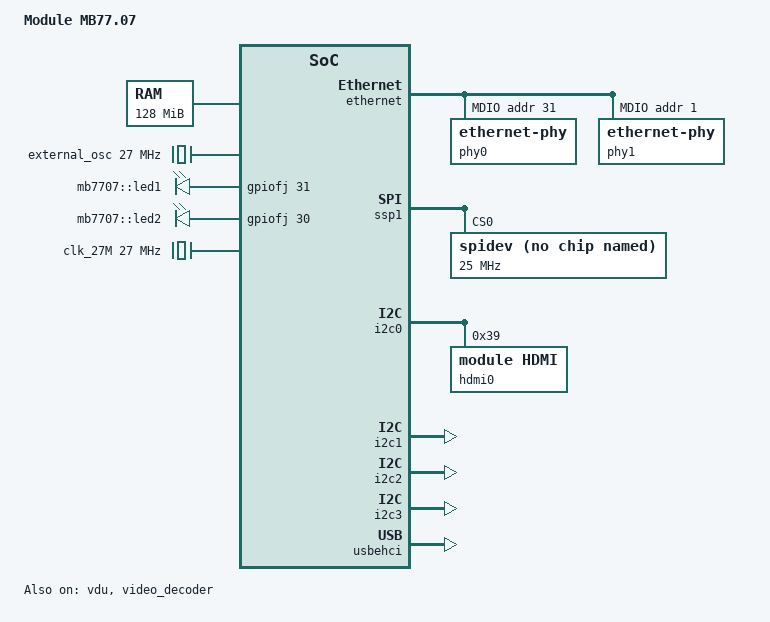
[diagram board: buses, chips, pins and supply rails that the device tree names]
/*
 * Copyright Promwad inc(C) 2011
 *
 * Michail Kurachkin <stelhs@ya.ru>
 *
 * This program is free software; you can redistribute it and/or modify
 * it under the terms of the GNU General Public License as published by
 * the Free Software Foundation; either version 2 of the License, or
 * (at your option) any later version.
 *
 * This program is distributed in the hope that it will be useful,
 * but WITHOUT ANY WARRANTY; without even the implied warranty of
 * MERCHANTABILITY or FITNESS FOR A PARTICULAR PURPOSE.  See the
 * GNU General Public License for more details.
 *
 * You should have received a copy of the GNU General Public License
 * along with this program; if not, write to the Free Software
 * Foundation, Inc., 59 Temple Place, Suite 330, Boston, MA  02111-1307  USA
 */

/dts-v1/;
/include/ "module-k1879x.dtsi"
/ {
	model = "Module MB77.07";
	compatible = "module,mb7707";

	memory {
		device_type = "memory";
		reg = <0x40000000 0x8000000>;
	};

	chosen {
		bootargs = "ignore_loglevel console=ttyS0,38400n8 earlyprintk=serial mtdparts=mnand:0x40000@0x0(boot),0x40000@0x40000(env),0x80000@0x80000(kernel_dtb),0x400000@0x100000(kernel),0x3FB00000@0x500000(rootfs) ubi.mtd=4,2048 root=ubi0:rootfs rootfstype=ubifs";
	};

	external_osc: oscillator {
		compatible = "fixed-clock";
		#clock-cells = <1>;
		clock-frequency  = <27000000>;
		clock-output-names = "osc";
	};


	/*clocks {
		ref_clk: clock@1 {
			compatible = "fixed-clock";
			clock-outputs = "ref";
			clock-frequency = <20000000>;
		};
	};*/

	 leds {
	     compatible = "gpio-leds";
	     one {
	     	  label = "mb7707::led1";
		  gpios = <&gpiofj 31 0>; /* LED1 */
		  linux,default-trigger = "heartbeat";
	     };
	     two {
		  label = "mb7707::led2";
		  gpios = <&gpiofj 30 0>; /* LED2 */
		  default-state = "off";
	     };
        };

	axi {
		apb_d {
			clk_core: clk@0 {
				/* Reference 324MHz clock */
				compatible = "fixed-clock";
				#clock-cells = <0>;
				clock-frequency = <324000000>;
				clock-output-names = "clk_core";
			};

			clk_axi: clk@1 {
				/* Reference 162MHz clock */
				compatible = "fixed-clock";
				#clock-cells = <0>;
				clock-frequency = <162000000>;
				clock-output-names = "clk_axi";
			};

			clk_prf: clk@2 {
				/* Reference 81MHz clock */
				compatible = "fixed-clock";
				#clock-cells = <0>;
				clock-frequency = <81000000>;
				clock-output-names = "clk_prf";
			};

			clk_apb: clk@3 {
				/* Reference 54MHz clock */
				compatible = "fixed-clock";
				#clock-cells = <0>;
				clock-frequency = <54000000>;
				clock-output-names = "clk_apb";
			};

			clk_27M: clk@4 {
				/* Reference 27MHz clock */
				compatible = "fixed-clock";
				#clock-cells = <0>;
				clock-frequency = <27000000>;
				clock-output-names = "clk_27m";
			};

			ethernet: greth@4000 {
				local-mac-address = [ 00 02 f7 00 27 0f ];
				status = "okay";
				mdio {
					phy0: ethernet-phy@1f {
						reg = <0x1f>;
					};

					phy1: ethernet-phy@1 {
						reg = <0x1>;
					};

				};
			};
		};		
	};
};

&ssp1 {
	status = "okay";
	spidev@0 {
		compatible = "spidev";
		reg = <0>;
		spi-max-frequency = <25000000>;
		spi-cpha;
		pl022,hierarchy = <0>;
		pl022,interface = <0>;
		pl022,slave-tx-disable;
		pl022,com-mode = <0x1>; /* polling mode */
		pl022,rx-level-trig = <0>;
		pl022,tx-level-trig = <0>;
		pl022,ctrl-len = <0x11>;
		pl022,wait-state = <0>;
		pl022,duplex = <0>;
	};
};


&i2c0 {
	status = "okay";
	speed = <100000>;

	hdmi0: hdmi@39 {
		compatible = "module,hdmi";
		reg = <0x39>;
	};
};

&i2c1 {
	status = "okay";
	speed = <100000>;
};

&i2c2 {
	status = "okay";
	speed = <100000>;
};

/* This is the I2C bus present on X9 connector */
&i2c3 {
	status = "okay";
	speed = <100000>;
};

&vdu {
	status = "okay";
};

&sound {
	status = "okay";
	maudio,model = "Module MB7707";
};

&usbehci {
	status = "okay";
};

&video_decoder {
	status = "okay";
};

